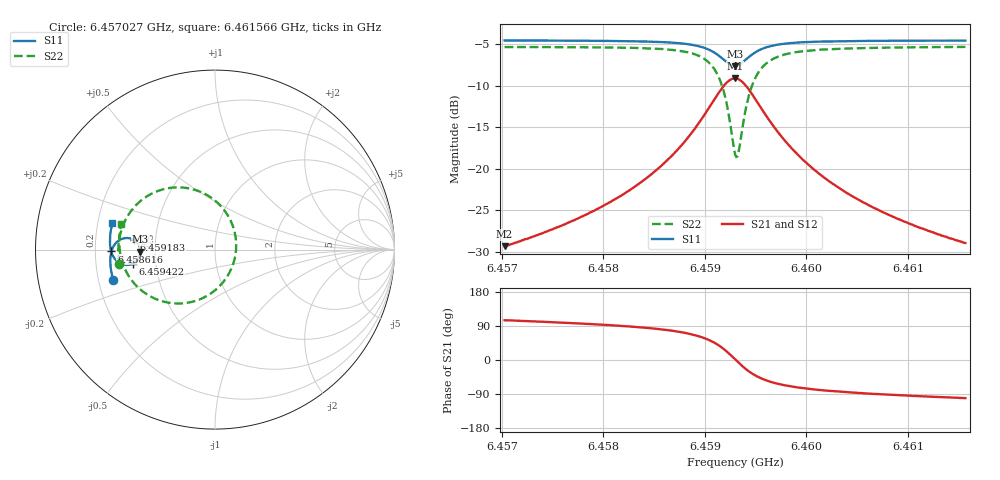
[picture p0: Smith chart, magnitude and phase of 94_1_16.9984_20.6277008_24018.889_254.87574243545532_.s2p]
#  HZ  S  RI  R  50.00
! Rohde & Schwarz Vector Network Analyzer
! Rohde-Schwarz,ZNB20-2Port,1311601062101988,3.16
! Created: UTC 3/20/2024, 10:56:15 PM
! freq[Hz]  re:S11  im:S11  re:S21  im:S21  re:S12  im:S12  re:S22  im:S22
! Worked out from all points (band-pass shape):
!   401 points, 6.457027 GHz to 6.461566 GHz, reference 50 ohm
!   highest |S21| = -9.12 dB at 6.459297 GHz (marker M1); lowest = -29.3 dB at 6.457027 GHz (marker M2)
!   |S21| within 3 dB of the highest: 6.459069 GHz to 6.459523 GHz (453.8 kHz wide, 0.00703 % of centre)
!   lowest |S11| = -7.6 dB at 6.459297 GHz (marker M3), VSWR 2.42, Z = 20.7 - j0.541 ohm
!   |S11| at or under -10 dB: nowhere
!   |S22| runs from -18.6 to -5.3 dB; largest |S21 - S12| = 0.014
!   S11 on the Smith chart (normalised r, x): 6.457027 GHz: 0.26, -0.14; 6.458616 GHz: 0.27, -0.01; 6.459183 GHz: 0.38, +0.05; 6.459422 GHz: 0.37, -0.07; 6.461566 GHz: 0.26, +0.12
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6.4570272e9  -0.5671 -0.1698  -0.00882 0.0329  -0.00704 0.0329  -0.5342 -0.0795
6.4577875e9  -0.5807 -0.103  -0.00542 0.0511  -0.00288 0.0504  -0.5387 0.0102
6.4581847e9  -0.5834 -0.063  0.000141 0.0694  0.00342 0.0681  -0.5308 0.0733
6.4585478e9  -0.5794 -0.0196  0.0149 0.1  0.0188 0.0972  -0.5037 0.1553
6.4586159e9  -0.5771 -0.01  0.0202 0.1086  0.0243 0.1052  -0.4934 0.1753
6.4588088e9  -0.5643 0.0204  0.0473 0.1397  0.0513 0.1347  -0.4427 0.2447
6.4589563e9  -0.5413 0.0469  0.0933 0.1704  0.0965 0.1636  -0.3579 0.3091
6.4590925e9  -0.4967 0.0644  0.1818 0.1867  0.1825 0.1794  -0.1965 0.3467
6.4591833e9  -0.4514 0.0536  0.2728 0.1545  0.2729 0.1488  -0.0284 0.2941
6.4592513e9  -0.4221 0.0208  0.3335 0.0813  0.3357 0.076  0.087 0.1618
6.4592967e9  -0.4152 -0.0108  0.3496 0.0125  0.3533 0.00549  0.1181 0.0332
6.4593081e9  -0.4157 -0.0189  0.3492 -0.00556  0.3532 -0.0132  0.1174 -0.000762
6.4593308e9  -0.4193 -0.0348  0.3433 -0.0406  0.3473 -0.0498  0.1054 -0.0671
6.4593762e9  -0.4353 -0.0613  0.314 -0.1008  0.3163 -0.1129  0.046 -0.1807
6.4594216e9  -0.4575 -0.0778  0.2713 -0.142  0.2704 -0.1554  -0.0406 -0.2552
6.4595123e9  -0.5015 -0.0848  0.1856 -0.173  0.1792 -0.1846  -0.2111 -0.3001
6.4596598e9  -0.5459 -0.0643  0.0969 -0.1585  0.0884 -0.1647  -0.3795 -0.2493
6.4598187e9  -0.5677 -0.0365  0.0517 -0.1303  0.0439 -0.133  -0.4601 -0.1764
6.460057e9  -0.5807 -0.00114  0.0225 -0.0983  0.0165 -0.099  -0.5079 -0.0936
6.4603634e9  -0.5852 0.036  0.00728 -0.0732  0.00313 -0.0728  -0.5283 -0.0207
6.4608173e9  -0.5836 0.0821  -0.00149 -0.0524  -0.0043 -0.0515  -0.5333 0.054
6.4615662e9  -0.5719 0.1487  -0.00653 -0.035  -0.00823 -0.0341  -0.522 0.1431
